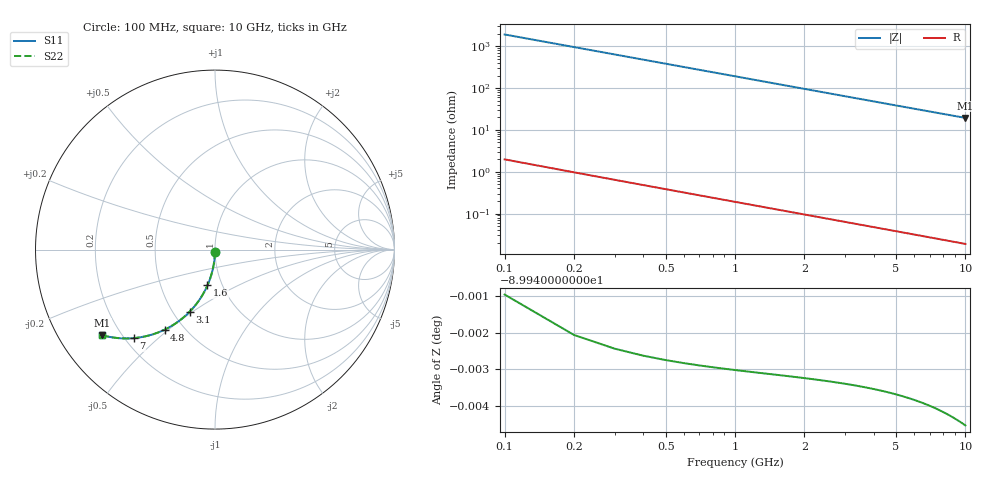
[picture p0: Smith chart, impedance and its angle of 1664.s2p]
# Hz S RI R 50.00
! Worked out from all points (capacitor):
!   100 points, 100 MHz to 10 GHz, reference 50 ohm
!   read as one part in shunt: C = 831 fF near 100 MHz
!   lowest |Z| = 19.4 ohm at 10 GHz (marker M1)
!   S11 on the Smith chart (normalised r, x): 100 MHz: 1.00, -0.03; 1.6 GHz: 0.85, -0.35; 3.1 GHz: 0.61, -0.49; 4.8 GHz: 0.39, -0.48; 7 GHz: 0.23, -0.42; 10 GHz: 0.13, -0.33
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1e8  -0.000163 -0.013  0.9998 -0.0131  0.9998 -0.0131  -0.000163 -0.013
2e8  -0.000686 -0.026  0.9993 -0.0262  0.9993 -0.0262  -0.000686 -0.026
3e8  -0.00155 -0.0389  0.9984 -0.0393  0.9984 -0.0393  -0.00155 -0.0389
4e8  -0.00275 -0.0518  0.9972 -0.0523  0.9972 -0.0523  -0.00275 -0.0518
5e8  -0.00428 -0.0647  0.9957 -0.0653  0.9957 -0.0653  -0.00428 -0.0647
6e8  -0.00615 -0.0775  0.9938 -0.0782  0.9938 -0.0782  -0.00615 -0.0775
7e8  -0.00834 -0.0902  0.9916 -0.091  0.9916 -0.091  -0.00834 -0.0902
9e8  -0.0137 -0.1153  0.9863 -0.1164  0.9863 -0.1164  -0.0137 -0.1153
1.2e9  -0.0241 -0.1521  0.9759 -0.1535  0.9759 -0.1535  -0.0241 -0.1521
1.6e9  -0.0419 -0.199  0.958 -0.2009  0.958 -0.2009  -0.0419 -0.199
1.8e9  -0.0524 -0.2214  0.9475 -0.2235  0.9475 -0.2235  -0.0524 -0.2214
2.4e9  -0.0894 -0.2835  0.9105 -0.2863  0.9105 -0.2863  -0.0894 -0.2835
3.1e9  -0.1406 -0.3453  0.8593 -0.349  0.8593 -0.349  -0.1406 -0.3453
3.4e9  -0.1644 -0.3682  0.8356 -0.3721  0.8356 -0.3721  -0.1644 -0.3682
4.1e9  -0.2222 -0.4129  0.7777 -0.4177  0.7777 -0.4177  -0.2222 -0.4129
4.8e9  -0.2812 -0.4463  0.7187 -0.4519  0.7187 -0.4519  -0.2812 -0.4463
5.1e9  -0.3062 -0.4574  0.6937 -0.4634  0.6937 -0.4634  -0.3062 -0.4574
5.9e9  -0.3711 -0.4791  0.6288 -0.4861  0.6288 -0.4861  -0.3711 -0.4791
6.7e9  -0.4319 -0.4909  0.568 -0.4988  0.568 -0.4988  -0.4319 -0.4909
7e9  -0.4534 -0.4932  0.5465 -0.5015  0.5465 -0.5015  -0.4534 -0.4932
8.4e9  -0.544 -0.4926  0.4559 -0.5026  0.4559 -0.5026  -0.544 -0.4926
1e10  -0.628 -0.4768  0.3719 -0.4888  0.3719 -0.4888  -0.628 -0.4768
